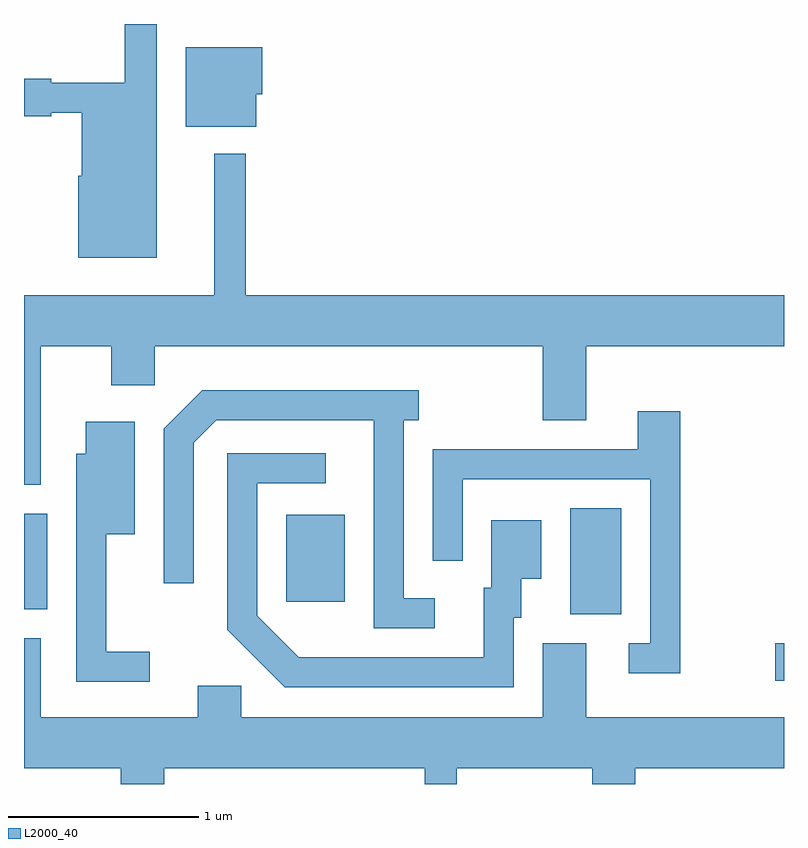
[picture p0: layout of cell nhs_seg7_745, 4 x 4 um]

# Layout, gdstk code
import gdstk
lib = gdstk.Library(unit=1e-6, precision=1e-09)
def R(c, l, rs):  # rectangles x0, y0, x1, y1
    for r in rs: c.add(gdstk.rectangle(r[:2], r[2:], *l))
def P(c, l, *ps):  # polygons
    for p in ps: c.add(gdstk.Polygon(p, *l))
L2000_40 = (2000, 40)

nhs_seg7_745 = lib.new_cell('nhs_seg7_745')
R(nhs_seg7_745, L2000_40, [(211.566,1694.796,211.611,1694.994), (210.486,1695.146,210.754,1695.704), (207.611,1695.171,207.734,1695.674), (208.991,1695.211,209.299,1695.669)])
P(nhs_seg7_745, L2000_40, [(208.309,1698.252),(208.141,1698.252),(208.141,1697.944),(207.754,1697.944),(207.754,1697.964),(207.611,1697.964),(207.611,1697.766),(207.754,1697.766),(207.754,1697.786),(207.916,1697.786),(207.916,1697.454),(207.896,1697.454),(207.896,1697.021),(208.309,1697.021)],
  [(208.834,1697.881),(208.864,1697.881),(208.864,1698.129),(208.461,1698.129),(208.461,1697.711),(208.834,1697.711)],
  [(207.699,1696.556),(208.071,1696.556),(208.071,1696.351),(208.299,1696.351),(208.299,1696.556),(210.341,1696.556),(210.341,1696.166),(210.569,1696.166),(210.569,1696.556),(211.611,1696.556),(211.611,1696.824),(208.779,1696.824),(208.779,1697.568),(208.611,1697.568),(208.611,1696.824),(207.611,1696.824),(207.611,1695.826),(207.699,1695.826)],
  [(209.773,1695.229),(209.609,1695.229),(209.609,1696.166),(209.688,1696.166),(209.688,1696.324),(208.549,1696.324),(208.346,1696.122),(208.346,1695.308),(208.504,1695.308),(208.504,1696.049),(208.622,1696.166),(209.451,1696.166),(209.451,1695.071),(209.773,1695.071)],
  [(211.064,1696.214),(210.841,1696.214),(210.841,1696.014),(209.761,1696.014),(209.761,1695.428),(209.919,1695.428),(209.919,1695.856),(210.906,1695.856),(210.906,1694.994),(210.793,1694.994),(210.793,1694.836),(211.064,1694.836)],
  [(208.273,1694.949),(208.044,1694.949),(208.044,1695.566),(208.194,1695.566),(208.194,1696.159),(207.936,1696.159),(207.936,1695.989),(207.886,1695.989),(207.886,1694.791),(208.273,1694.791)],
  [(210.189,1695.126),(210.229,1695.126),(210.229,1695.331),(210.334,1695.331),(210.334,1695.639),(210.071,1695.639),(210.071,1695.284),(210.031,1695.284),(210.031,1694.919),(209.057,1694.919),(208.839,1695.137),(208.839,1695.836),(209.198,1695.836),(209.198,1695.994),(208.681,1695.994),(208.681,1695.064),(208.984,1694.761),(210.189,1694.761)],
  [(208.349,1694.336),(209.721,1694.336),(209.721,1694.252),(209.889,1694.252),(209.889,1694.336),(210.601,1694.336),(210.601,1694.252),(210.829,1694.252),(210.829,1694.336),(211.611,1694.336),(211.611,1694.604),(210.569,1694.604),(210.569,1694.994),(210.341,1694.994),(210.341,1694.604),(208.754,1694.604),(208.754,1694.769),(208.526,1694.769),(208.526,1694.604),(207.699,1694.604),(207.699,1695.019),(207.611,1695.019),(207.611,1694.336),(208.121,1694.336),(208.121,1694.252),(208.349,1694.252)])

lib.write_gds('nhs_seg7_745.gds')
